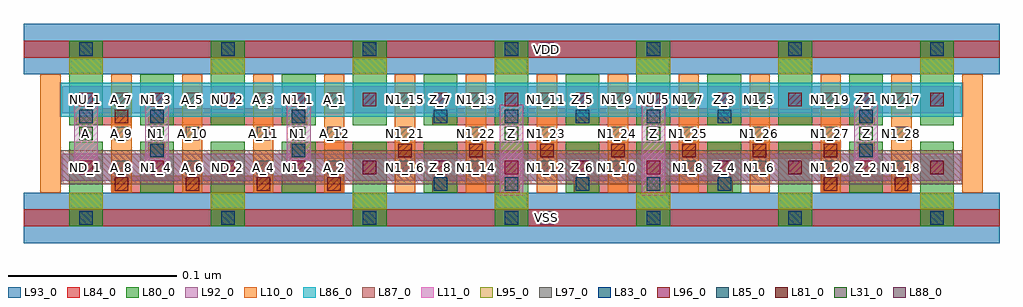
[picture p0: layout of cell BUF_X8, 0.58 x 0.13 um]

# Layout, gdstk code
import gdstk
lib = gdstk.Library(unit=1e-6, precision=1e-09)
def R(c, l, rs):  # rectangles x0, y0, x1, y1
    for r in rs: c.add(gdstk.rectangle(r[:2], r[2:], *l))
def A(c, l, x, y, w, h, nx, ny, dx, dy):  # array of equal rectangles
    R(c, l, [(x+i*dx, y+j*dy, x+i*dx+w, y+j*dy+h) for i in range(nx) for j in range(ny)])
L10_0 = (10, 0)
L11_0 = (11, 0)
L31_0 = (31, 0)
L80_0 = (80, 0)
L81_0 = (81, 0)
L83_0 = (83, 0)
L84_0 = (84, 0)
L85_0 = (85, 0)
L86_0 = (86, 0)
L87_0 = (87, 0)
L88_0 = (88, 0)
L92_0 = (92, 0)
L93_0 = (93, 0)
L95_0 = (95, 0)
L96_0 = (96, 0)
L97_0 = (97, 0)

buf_x8 = lib.new_cell('BUF_X8')
A(buf_x8, L10_0, -0.027, 0.015, 0.012, 0.07, 14, 1, 0.042, 0)
R(buf_x8, L11_0, [(0.245,0.013,0.259,0.047), (0.245,0.013,0.259,0.047), (0.329,0.013,0.343,0.047), (0.329,0.013,0.343,0.047), (-0.007,0.033,0.007,0.067), (0.035,0.033,0.049,0.067), (0.119,0.033,0.133,0.067), (0.245,0.033,0.259,0.067), (0.245,0.033,0.259,0.067), (0.329,0.033,0.343,0.067), (0.329,0.033,0.343,0.067), (0.455,0.033,0.469,0.067), (0.455,0.033,0.469,0.067)])
R(buf_x8, L31_0, [(-0.004,0.046,0.004,0.054), (0.038,0.046,0.046,0.054), (0.122,0.046,0.13,0.054), (0.248,0.046,0.256,0.054), (0.332,0.046,0.34,0.054), (0.458,0.046,0.466,0.054)])
A(buf_x8, L80_0, -0.01, -0.005, 0.02, 0.03, 7, 2, 0.084, 0.08)
A(buf_x8, L80_0, -0.01, 0.015, 0.02, 0.03, 13, 2, 0.042, 0.04)
A(buf_x8, L81_0, 0.017, 0.016, 0.008, 0.008, 4, 1, 0.042, 0)
A(buf_x8, L81_0, 0.185, 0.036, 0.008, 0.008, 7, 1, 0.042, 0)
R(buf_x8, L81_0, [(0.437,0.016,0.445,0.024), (0.479,0.016,0.487,0.024), (0.017,0.056,0.025,0.064)])
A(buf_x8, L83_0, -0.004, -0.004, 0.008, 0.008, 7, 2, 0.084, 0.1)
A(buf_x8, L83_0, 0.206, 0.016, 0.008, 0.008, 3, 1, 0.084, 0)
A(buf_x8, L83_0, 0.038, 0.056, 0.008, 0.008, 3, 1, 0.084, 0)
R(buf_x8, L83_0, [(0.038,0.036,0.046,0.044), (0.122,0.036,0.13,0.044), (0.458,0.036,0.466,0.044), (0.458,0.036,0.466,0.044), (0.206,0.056,0.214,0.064), (0.29,0.056,0.298,0.064), (0.29,0.056,0.298,0.064), (0.374,0.056,0.382,0.064), (0.374,0.056,0.382,0.064), (0.458,0.056,0.466,0.064), (0.458,0.056,0.466,0.064)])
A(buf_x8, L84_0, 0.016, 0.015, 0.031, 0.01, 6, 1, 0.021, 0)
A(buf_x8, L84_0, 0.289, 0.015, 0.031, 0.01, 4, 1, 0.021, 0)
A(buf_x8, L84_0, 0.121, 0.035, 0.031, 0.01, 15, 1, 0.021, 0)
A(buf_x8, L84_0, 0.037, 0.055, 0.031, 0.01, 4, 1, 0.021, 0)
R(buf_x8, L84_0, [(-0.037,-0.005,0.541,0.005), (0.205,0.015,0.236,0.025), (0.226,0.015,0.257,0.025), (0.436,0.015,0.467,0.025), (0.457,0.015,0.488,0.025), (0.037,0.035,0.047,0.045), (0.457,0.035,0.467,0.045), (0.457,0.035,0.467,0.045), (-0.006,0.055,0.027,0.065), (0.205,0.055,0.236,0.065), (0.205,0.055,0.236,0.065), (0.226,0.055,0.257,0.065), (0.226,0.055,0.257,0.065), (0.247,0.055,0.278,0.065), (0.247,0.055,0.278,0.065), (0.268,0.055,0.299,0.065), (0.268,0.055,0.299,0.065), (0.289,0.055,0.32,0.065), (0.289,0.055,0.32,0.065), (0.31,0.055,0.341,0.065), (0.31,0.055,0.341,0.065), (0.331,0.055,0.362,0.065), (0.331,0.055,0.362,0.065), (0.352,0.055,0.383,0.065), (0.352,0.055,0.383,0.065), (0.373,0.055,0.404,0.065), (0.373,0.055,0.404,0.065), (0.394,0.055,0.425,0.065), (0.394,0.055,0.425,0.065), (0.415,0.055,0.446,0.065), (0.415,0.055,0.446,0.065), (0.436,0.055,0.467,0.065), (0.436,0.055,0.467,0.065), (-0.037,0.095,0.541,0.105)])
R(buf_x8, L85_0, [(0.248,0.016,0.256,0.024), (0.248,0.016,0.256,0.024), (0.332,0.016,0.34,0.024), (0.332,0.016,0.34,0.024), (0.038,0.036,0.046,0.044), (0.122,0.036,0.13,0.044), (0.458,0.036,0.466,0.044), (0.458,0.036,0.466,0.044), (-0.004,0.056,0.004,0.064), (0.038,0.056,0.046,0.064), (0.122,0.056,0.13,0.064), (0.248,0.056,0.256,0.064), (0.248,0.056,0.256,0.064), (0.332,0.056,0.34,0.064), (0.332,0.056,0.34,0.064), (0.458,0.056,0.466,0.064), (0.458,0.056,0.466,0.064)])
R(buf_x8, L86_0, [(-0.015,0.06,0.519,0.08)])
R(buf_x8, L87_0, [(-0.015,0.02,0.519,0.04)])
R(buf_x8, L88_0, [(0.269,-0.004,0.277,0.004), (0.269,0.096,0.277,0.104)])
R(buf_x8, L92_0, [(-0.014,0.022,0.518,0.038), (-0.014,0.062,0.518,0.078)])
R(buf_x8, L93_0, [(-0.037,-0.015,0.541,0.015), (-0.037,0.085,0.541,0.115)])
A(buf_x8, L95_0, -0.01, 0.005, 0.02, 0.01, 7, 2, 0.084, 0.08)
A(buf_x8, L96_0, -0.004, 0.026, 0.008, 0.008, 13, 2, 0.042, 0.04)
A(buf_x8, L97_0, 0.017, 0.026, 0.008, 0.008, 12, 3, 0.042, 0.02)
buf_x8.add(gdstk.Label('A_9', (0.021,0.05), layer=97, texttype=0))
buf_x8.add(gdstk.Label('A_7', (0.021,0.07), layer=97, texttype=0))
buf_x8.add(gdstk.Label('A_8', (0.021,0.03), layer=97, texttype=0))
buf_x8.add(gdstk.Label('A_6', (0.063,0.03), layer=97, texttype=0))
buf_x8.add(gdstk.Label('A_10', (0.063,0.05), layer=97, texttype=0))
buf_x8.add(gdstk.Label('A_5', (0.063,0.07), layer=97, texttype=0))
buf_x8.add(gdstk.Label('A_4', (0.105,0.03), layer=97, texttype=0))
buf_x8.add(gdstk.Label('A_11', (0.105,0.05), layer=97, texttype=0))
buf_x8.add(gdstk.Label('A_3', (0.105,0.07), layer=97, texttype=0))
buf_x8.add(gdstk.Label('A_1', (0.147,0.07), layer=97, texttype=0))
buf_x8.add(gdstk.Label('A_12', (0.147,0.05), layer=97, texttype=0))
buf_x8.add(gdstk.Label('A_2', (0.147,0.03), layer=97, texttype=0))
buf_x8.add(gdstk.Label('N1_21', (0.189,0.05), layer=97, texttype=0))
buf_x8.add(gdstk.Label('N1_15', (0.189,0.07), layer=97, texttype=0))
buf_x8.add(gdstk.Label('N1_16', (0.189,0.03), layer=97, texttype=0))
buf_x8.add(gdstk.Label('N1_22', (0.231,0.05), layer=97, texttype=0))
buf_x8.add(gdstk.Label('N1_13', (0.231,0.07), layer=97, texttype=0))
buf_x8.add(gdstk.Label('N1_14', (0.231,0.03), layer=97, texttype=0))
buf_x8.add(gdstk.Label('N1_23', (0.273,0.05), layer=97, texttype=0))
buf_x8.add(gdstk.Label('N1_11', (0.273,0.07), layer=97, texttype=0))
buf_x8.add(gdstk.Label('N1_12', (0.273,0.03), layer=97, texttype=0))
buf_x8.add(gdstk.Label('N1_9', (0.315,0.07), layer=97, texttype=0))
buf_x8.add(gdstk.Label('N1_24', (0.315,0.05), layer=97, texttype=0))
buf_x8.add(gdstk.Label('N1_10', (0.315,0.03), layer=97, texttype=0))
buf_x8.add(gdstk.Label('N1_25', (0.357,0.05), layer=97, texttype=0))
buf_x8.add(gdstk.Label('N1_7', (0.357,0.07), layer=97, texttype=0))
buf_x8.add(gdstk.Label('N1_8', (0.357,0.03), layer=97, texttype=0))
buf_x8.add(gdstk.Label('N1_5', (0.399,0.07), layer=97, texttype=0))
buf_x8.add(gdstk.Label('N1_26', (0.399,0.05), layer=97, texttype=0))
buf_x8.add(gdstk.Label('N1_6', (0.399,0.03), layer=97, texttype=0))
buf_x8.add(gdstk.Label('N1_19', (0.441,0.07), layer=97, texttype=0))
buf_x8.add(gdstk.Label('N1_27', (0.441,0.05), layer=97, texttype=0))
buf_x8.add(gdstk.Label('N1_20', (0.441,0.03), layer=97, texttype=0))
buf_x8.add(gdstk.Label('N1_17', (0.483,0.07), layer=97, texttype=0))
buf_x8.add(gdstk.Label('N1_28', (0.483,0.05), layer=97, texttype=0))
buf_x8.add(gdstk.Label('N1_18', (0.483,0.03), layer=97, texttype=0))
buf_x8.add(gdstk.Label('N1_3', (0.042,0.07), layer=96, texttype=0))
buf_x8.add(gdstk.Label('NU_1', (0,0.07), layer=96, texttype=0))
buf_x8.add(gdstk.Label('ND_1', (0,0.03), layer=96, texttype=0))
buf_x8.add(gdstk.Label('N1_4', (0.042,0.03), layer=96, texttype=0))
buf_x8.add(gdstk.Label('NU_2', (0.084,0.07), layer=96, texttype=0))
buf_x8.add(gdstk.Label('ND_2', (0.084,0.03), layer=96, texttype=0))
buf_x8.add(gdstk.Label('N1_1', (0.126,0.07), layer=96, texttype=0))
buf_x8.add(gdstk.Label('N1_2', (0.126,0.03), layer=96, texttype=0))
buf_x8.add(gdstk.Label('NU_3', (0.168,0.07), layer=96, texttype=0))
buf_x8.add(gdstk.Label('ND_3', (0.168,0.03), layer=96, texttype=0))
buf_x8.add(gdstk.Label('Z_7', (0.21,0.07), layer=96, texttype=0))
buf_x8.add(gdstk.Label('Z_8', (0.21,0.03), layer=96, texttype=0))
buf_x8.add(gdstk.Label('NU_4', (0.252,0.07), layer=96, texttype=0))
buf_x8.add(gdstk.Label('ND_4', (0.252,0.03), layer=96, texttype=0))
buf_x8.add(gdstk.Label('Z_6', (0.294,0.03), layer=96, texttype=0))
buf_x8.add(gdstk.Label('Z_5', (0.294,0.07), layer=96, texttype=0))
buf_x8.add(gdstk.Label('NU_5', (0.336,0.07), layer=96, texttype=0))
buf_x8.add(gdstk.Label('ND_5', (0.336,0.03), layer=96, texttype=0))
buf_x8.add(gdstk.Label('Z_4', (0.378,0.03), layer=96, texttype=0))
buf_x8.add(gdstk.Label('Z_3', (0.378,0.07), layer=96, texttype=0))
buf_x8.add(gdstk.Label('ND_6', (0.42,0.03), layer=96, texttype=0))
buf_x8.add(gdstk.Label('NU_6', (0.42,0.07), layer=96, texttype=0))
buf_x8.add(gdstk.Label('Z_2', (0.462,0.03), layer=96, texttype=0))
buf_x8.add(gdstk.Label('Z_1', (0.462,0.07), layer=96, texttype=0))
buf_x8.add(gdstk.Label('ND_7', (0.504,0.03), layer=96, texttype=0))
buf_x8.add(gdstk.Label('NU_7', (0.504,0.07), layer=96, texttype=0))
buf_x8.add(gdstk.Label('VSS', (0.273,0), layer=88, texttype=0))
buf_x8.add(gdstk.Label('VDD', (0.273,0.1), layer=88, texttype=0))
buf_x8.add(gdstk.Label('N1', (0.042,0.05), layer=31, texttype=0))
buf_x8.add(gdstk.Label('N1', (0.126,0.05), layer=31, texttype=0))
buf_x8.add(gdstk.Label('Z', (0.252,0.05), layer=31, texttype=0))
buf_x8.add(gdstk.Label('Z', (0.336,0.05), layer=31, texttype=0))
buf_x8.add(gdstk.Label('Z', (0.462,0.05), layer=31, texttype=0))
buf_x8.add(gdstk.Label('A', (0,0.05), layer=31, texttype=0))

lib.write_gds('BUF_X8.gds')
